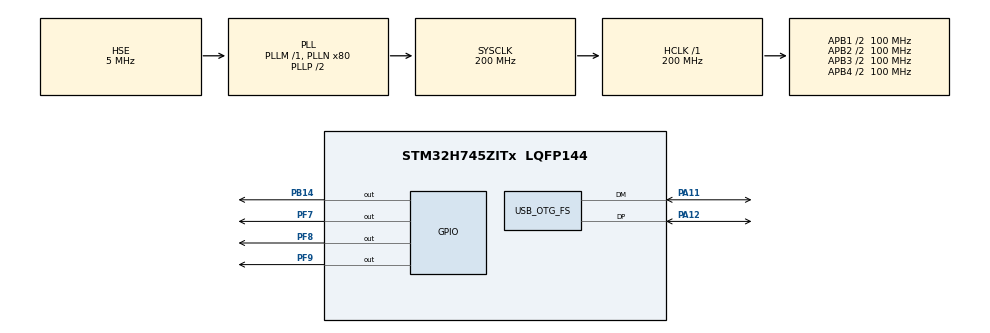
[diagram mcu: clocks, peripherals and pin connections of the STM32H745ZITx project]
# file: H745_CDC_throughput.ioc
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CORTEX_M7.default_mode_Activation=1
CortexM4.IPs=FATFS_M4\:I,FREERTOS_M4\:I,IWDG2\:I,RCC,WWDG2\:I,DMA,BDMA,MDMA,NVIC2\:I,DEBUG,PDM2PCM_M4\:I,PWR,RESMGR_UTILITY,SYS_M4\:I,USB_DEVICE_M4\:I,USB_HOST_M4\:I,CORTEX_M4\:I,GPIO,OPENAMP_M4\:I,VREFBUF,NUCLEO-H745ZI-Q\:I
CortexM7.IPs=FATFS_M7\:I,FREERTOS_M7\:I,IWDG1\:I,RCC\:I,WWDG1\:I,DMA\:I,BDMA\:I,MDMA\:I,NVIC1\:I,SYS\:I,USB_OTG_FS\:I,CORTEX_M7\:I,DEBUG\:I,PDM2PCM_M7\:I,PWR\:I,RESMGR_UTILITY\:I,USB_DEVICE_M7\:I,USB_HOST_M7\:I,GPIO\:I,OPENAMP_M7\:I,VREFBUF\:I
CortexM7.Pins=PF7,PF8,PF9,PB14
Mcu.Family=STM32H7
Mcu.Name=STM32H745ZITx
Mcu.Package=LQFP144
NVIC1.OTG_FS_IRQn=true\:0\:0\:false\:false\:true\:true\:true\:true
NVIC1.PriorityGroup=NVIC_PRIORITYGROUP_4
NVIC1.RCC_IRQn=true\:0\:0\:false\:false\:true\:true\:false\:true
NVIC2.PriorityGroup=NVIC_PRIORITYGROUP_4
PA11.Mode=Device_Only
PA11.PinAttribute=CortexM7
PA11.Signal=USB_OTG_FS_DM
PA12.Mode=Device_Only
PA12.PinAttribute=CortexM7
PA12.Signal=USB_OTG_FS_DP
PB14.GPIO_Speed=GPIO_SPEED_FREQ_VERY_HIGH
PB14.PinAttribute=CortexM7
PB14.Signal=GPIO_Output
PC14-OSC32_IN\ (OSC32_IN).PinAttribute=Free
PC14-OSC32_IN\ (OSC32_IN).Signal=RCC_OSC32_IN
PC15-OSC32_OUT\ (OSC32_OUT).PinAttribute=Free
PC15-OSC32_OUT\ (OSC32_OUT).Signal=RCC_OSC32_OUT
PD8.GPIO_Label=STLINK_RX
PD8.PinAttribute=CortexM7
PD8.Signal=USART3_TX
PD9.GPIO_Label=STLINK_TX
PD9.PinAttribute=CortexM7
PD9.Signal=USART3_RX
PF7.GPIO_Speed=GPIO_SPEED_FREQ_VERY_HIGH
PF7.PinAttribute=CortexM7
PF7.Signal=GPIO_Output
PF8.GPIO_Speed=GPIO_SPEED_FREQ_VERY_HIGH
PF8.PinAttribute=CortexM7
PF8.Signal=GPIO_Output
PF9.GPIO_Speed=GPIO_SPEED_FREQ_VERY_HIGH
PF9.PinAttribute=CortexM7
PF9.PinState=GPIO_PIN_RESET
PF9.Signal=GPIO_Output
PH0-OSC_IN\ (PH0).Mode=HSE-External-Clock-Source
PH0-OSC_IN\ (PH0).PinAttribute=Free
PH0-OSC_IN\ (PH0).Signal=RCC_OSC_IN
PH1-OSC_OUT\ (PH1).PinAttribute=Free
PH1-OSC_OUT\ (PH1).Signal=RCC_OSC_OUT
ProjectManager.HeapSize=M4-0x200,M7-0x200
ProjectManager.StackSize=M4-0x400,M7-0x400
ProjectManager.TargetToolchain=STM32CubeIDE
RCC.ADCFreq_Value=10078125
RCC.APB1Freq_Value=100000000
RCC.APB2Freq_Value=100000000
RCC.APB3Freq_Value=100000000
RCC.APB4Freq_Value=100000000
RCC.CortexFreq_Value=200000000
RCC.D1PPRE=RCC_APB3_DIV2
RCC.D2PPRE1=RCC_APB1_DIV2
RCC.D2PPRE2=RCC_APB2_DIV2
RCC.D3PPRE=RCC_APB4_DIV2
RCC.DIVM1=1
RCC.DIVM3=1
RCC.DIVN1=80
RCC.DIVN3=48
RCC.DIVQ3=5
RCC.HCLKFreq_Value=200000000
RCC.HSE_VALUE=5000000
RCC.PLL2FRACN=0
RCC.PLL3FRACN=0
RCC.PLLFRACN=0
RCC.SYSCLKFreq_VALUE=200000000
RCC.SYSCLKSource=RCC_SYSCLKSOURCE_PLLCLK
RCC.SupplySource=PWR_DIRECT_SMPS_SUPPLY
RCC.USBCLockSelection=RCC_USBCLKSOURCE_PLL3
RCC.USBFreq_Value=48000000
USB_DEVICE_M7.CLASS_NAME_FS=CDC
USB_DEVICE_M7.VirtualMode-CDC_FS=Cdc
USB_DEVICE_M7.VirtualModeFS=Cdc_FS
USB_OTG_FS.VirtualMode=Device_Only
VP_SYS_M4_VS_Systick.Mode=SysTick
VP_USB_DEVICE_M7_VS_USB_DEVICE_CDC_FS.Mode=CDC_FS
board=NUCLEO-H745ZI-Q

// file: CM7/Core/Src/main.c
/* USER CODE BEGIN Header */
/**
  ******************************************************************************
  * @file           : main.c
  * @brief          : Main program body
  ******************************************************************************
  * @attention
  *
  * Copyright (c) 2025 STMicroelectronics.
  * All rights reserved.
  *
  * This software is licensed under terms that can be found in the LICENSE file
  * in the root directory of this software component.
  * If no LICENSE file comes with this software, it is provided AS-IS.
  *
  ******************************************************************************
  */
/* USER CODE END Header */
#include "main.h"
#include "usb_device.h"

/* USER CODE BEGIN Includes */
#include "usbd_cdc.h"
/* USER CODE END Includes */

/* USER CODE BEGIN PD */
#define BUFFER_SIZE 2000
#define ONE_MB_IN_BYTES 1048576
#define ONE_MB (1024 * 1024)

/* DUAL_CORE_BOOT_SYNC_SEQUENCE: Define for dual core boot synchronization    */
/*                             demonstration code based on hardware semaphore */
/* This define is present in both CM7/CM4 projects                            */
/* To comment when developping/debugging on a single core                     */
//#define DUAL_CORE_BOOT_SYNC_SEQUENCE

#if defined(DUAL_CORE_BOOT_SYNC_SEQUENCE)
#ifndef HSEM_ID_0
#define HSEM_ID_0 (0U) /* HW semaphore 0*/
#endif
#endif /* DUAL_CORE_BOOT_SYNC_SEQUENCE */

/* USER CODE END PD */

/* USER CODE BEGIN PM */
#define BUFFER_SIZE 16384  // 16 kB buffer size

uint64_t current_value = 0;  // Start value for uint64_t sequence
/* USER CODE END PM */

/* USER CODE BEGIN PV */
static uint32_t totalBytesTransmitted = 0;  // Counter for total bytes transmitted

extern PCD_HandleTypeDef hpcd_USB_OTG_FS;
extern USBD_HandleTypeDef hUsbDeviceFS;
uint64_t msg[BUFFER_SIZE];
extern HAL_StatusTypeDef hal_status;
static uint32_t number_suffix = 1;
static uint32_t total_bytes_transmitted = 0;
USBD_StatusTypeDef usb_status;
const char *message = "hellowooooooooorldxxxxxxxxxxhellowooooooooorldxxxxxxxxxxhellowooooooooorldxxxxxxxxxxhellowooooooooorldxxxxxxxxxx"
		"hellowooooooooorldxxxxxxxxxxhellowooooooooorldxxxxxxxxxxhellowooooooooorldxxxxxxxxxxhellowooooooooorldxxxxxxxxxx"
		"hellowooooooooorldxxxxxxxxxxhellowooooooooorldxxxxxxxxxxhellowooooooooorldxxxxxxxxxxhellowooooooooorldxxxxxxxxxx"
		"hellowooooooooorldxxxxxxxxxxhellowooooooooorldxxxxxxxxxxhellowooooooooorldxxxxxxxxxxhellowooooooooorldxxxxxxxxxx"
		"hellowooooooooorldxxxxxxxxxxhellowooooooooorldxxxxxxxxxxhellowooooooooorldxxxxxxxxxxhellowooooooooorldxxxxxxxxxx"
		"hellowooooooooorldxxxxxxxxxxhellowooooooooorldxxxxxxxxxxhellowooooooooorldxxxxxxxxxxhellowooooooooorldxxxxxxxxxx"
		"hellowooooooooorldxxxxxxxxxxhellowooooooooorldxxxxxxxxxxhellowooooooooorldxxxxxxxxxxhellowooooooooorldxxxxxxxxxx"
		"hellowooooooooorldxxxxxxxxxxhellowooooooooorldxxxxxxxxxxhellowooooooooorldxxxxxxxxxxhellowooooooooorldxxxxxxxxxx"
		"hellowooooooooorldxxxxxxxxxxhellowooooooooorldxxxxxxxxxxhellowooooooooorldxxxxxxxxxxhellowooooooooorldxxxxxxxxxx"
		"hellowooooooooorldxxxxxxxxxxhellowooooooooorldxxxxxxxxxxhellowooooooooorldxxxxxxxxxxhellowooooooooorldxxxxxxxxxx"
		"hellowooooooooorldxxxxxxxxxxhellowooooooooorldxxxxxxxxxxhellowooooooooorldxxxxxxxxxxhellowooooooooorldxxxxxxxxxx"
		"hellowooooooooorldxxxxxxxxxxhellowooooooooorldxxxxxxxxxxhellowooooooooorldxxxxxxxxxxhellowooooooooorldxxxxxxxxxx"
		"hellowooooooooorldxxxxxxxxxxhellowooooooooorldxxxxxxxxxxhellowooooooooorldxxxxxxxxxxhellowooooooooorldxxxxxxxxxx"
		"hellowooooooooorldxxxxxxxxxxhellowooooooooorldxxxxxxxxxxhellowooooooooorldxxxxxxxxxxhellowooooooooorldxxxxxxxxxx"
		"hellowooooooooorldxxxxxxxxxxhellowooooooooorldxxxxxxxxxxhellowooooooooorldxxxxxxxxxxhellowooooooooorldxxxxxxxxxx"
		"hellowooooooooorldxxxxxxxxxxhellowooooooooorldxxxxxxxxxxhellowooooooooorldxxxxxxxxxxhellowooooooooorldxxxxxxxxxx"
		"hellowooooooooorldxxxxxxxxxxhellowooooooooorldxxxxxxxxxxhellowooooooooorldxxxxxxxxxxhellowooooooooorldxxxxxxxxxx%lu\r\n";

/* USER CODE END PV */

void SystemClock_Config(void);
static void MPU_Config(void);
static void MX_GPIO_Init(void);
/* USER CODE BEGIN PFP */
uint8_t CDC_Transmit_FS(uint8_t* Buf, uint16_t Len);

/* USER CODE END PFP */

/* USER CODE BEGIN 0 */
uint64_t gNextValue = 0;
uint8_t gUsbBuffer[2][1024 * 16] = {};

/* USER CODE END 0 */

int main(void)
{

/* USER CODE BEGIN Boot_Mode_Sequence_0 */
#if defined(DUAL_CORE_BOOT_SYNC_SEQUENCE)
  int32_t timeout;
#endif /* DUAL_CORE_BOOT_SYNC_SEQUENCE */
/* USER CODE END Boot_Mode_Sequence_0 */

  /* MPU Configuration--------------------------------------------------------*/
  MPU_Config();

/* USER CODE BEGIN Boot_Mode_Sequence_1 */
#if defined(DUAL_CORE_BOOT_SYNC_SEQUENCE)
  /* Wait until CPU2 boots and enters in stop mode or timeout*/
  timeout = 0xFFFF;
  while((__HAL_RCC_GET_FLAG(RCC_FLAG_D2CKRDY) != RESET) && (timeout-- > 0));
  if ( timeout < 0 )
  {
  Error_Handler();
  }
#endif /* DUAL_CORE_BOOT_SYNC_SEQUENCE */
/* USER CODE END Boot_Mode_Sequence_1 */
  /* MCU Configuration--------------------------------------------------------*/

  /* Reset of all peripherals, Initializes the Flash interface and the Systick. */
  HAL_Init();

  /* Configure the system clock */
  SystemClock_Config();
/* USER CODE BEGIN Boot_Mode_Sequence_2 */
#if defined(DUAL_CORE_BOOT_SYNC_SEQUENCE)
/* When system initialization is finished, Cortex-M7 will release Cortex-M4 by means of
HSEM notification */
/*HW semaphore Clock enable*/
__HAL_RCC_HSEM_CLK_ENABLE();
/*Take HSEM */
HAL_HSEM_FastTake(HSEM_ID_0);
/*Release HSEM in order to notify the CPU2(CM4)*/
HAL_HSEM_Release(HSEM_ID_0,0);
/* wait until CPU2 wakes up from stop mode */
timeout = 0xFFFF;
while((__HAL_RCC_GET_FLAG(RCC_FLAG_D2CKRDY) == RESET) && (timeout-- > 0));
if ( timeout < 0 )
{
Error_Handler();
}
#endif /* DUAL_CORE_BOOT_SYNC_SEQUENCE */
/* USER CODE END Boot_Mode_Sequence_2 */

  /* Initialize all configured peripherals */
  MX_GPIO_Init();
  MX_USB_DEVICE_Init();

  /* Infinite loop */
  while (1)
  {

    /* USER CODE BEGIN 3 */

	  HAL_Delay(2000);//delay just to make sure pc reads usb comport berfore stat tranmitting
	  HAL_GPIO_WritePin(GPIOF, GPIO_PIN_9, GPIO_PIN_RESET);
	  HAL_GPIO_WritePin(GPIOF, GPIO_PIN_9, GPIO_PIN_SET);//set pin to start tracking transmission time

	  for (int i = 0; i < 1000; i++) {//for loop that sends 1936 bytes bhuffer with incremented suffix in the end to identify each transmit 1000 times
	      // Update message with current suffix
	      int len = snprintf((char *)msg, BUFFER_SIZE, message, (unsigned long)number_suffix);

	      // Transmit the message
	      CDC_Transmit_FS(msg, len);

	      // Increment suffix for next message
	      number_suffix++;
//	      for (volatile uint32_t i = 0; i < 40000; i++) {
//	     	          __NOP();
//	     	      }
	      //HAL_Delay(10);
	  }

	  HAL_GPIO_WritePin(GPIOF, GPIO_PIN_9, GPIO_PIN_RESET);//reset the pin to see how much time the total transmission took
	  //HAL_Delay(10000);
  }

  /* USER CODE END 3 */
}

void SystemClock_Config(void)
{
  RCC_OscInitTypeDef RCC_OscInitStruct = {0};
  RCC_ClkInitTypeDef RCC_ClkInitStruct = {0};

  /** Supply configuration update enable
  */
  HAL_PWREx_ConfigSupply(PWR_DIRECT_SMPS_SUPPLY);

  /** Configure the main internal regulator output voltage
  */
  __HAL_PWR_VOLTAGESCALING_CONFIG(PWR_REGULATOR_VOLTAGE_SCALE3);

  while(!__HAL_PWR_GET_FLAG(PWR_FLAG_VOSRDY)) {}

  /** Initializes the RCC Oscillators according to the specified parameters
  * in the RCC_OscInitTypeDef structure.
  */
  RCC_OscInitStruct.OscillatorType = RCC_OSCILLATORTYPE_HSE;
  RCC_OscInitStruct.HSEState = RCC_HSE_BYPASS;
  RCC_OscInitStruct.PLL.PLLState = RCC_PLL_ON;
  RCC_OscInitStruct.PLL.PLLSource = RCC_PLLSOURCE_HSE;
  RCC_OscInitStruct.PLL.PLLM = 1;
  RCC_OscInitStruct.PLL.PLLN = 80;
  RCC_OscInitStruct.PLL.PLLP = 2;
  RCC_OscInitStruct.PLL.PLLQ = 2;
  RCC_OscInitStruct.PLL.PLLR = 2;
  RCC_OscInitStruct.PLL.PLLRGE = RCC_PLL1VCIRANGE_2;
  RCC_OscInitStruct.PLL.PLLVCOSEL = RCC_PLL1VCOWIDE;
  RCC_OscInitStruct.PLL.PLLFRACN = 0;
  if (HAL_RCC_OscConfig(&RCC_OscInitStruct) != HAL_OK)
  {
    Error_Handler();
  }

  /** Initializes the CPU, AHB and APB buses clocks
  */
  RCC_ClkInitStruct.ClockType = RCC_CLOCKTYPE_HCLK|RCC_CLOCKTYPE_SYSCLK
                              |RCC_CLOCKTYPE_PCLK1|RCC_CLOCKTYPE_PCLK2
                              |RCC_CLOCKTYPE_D3PCLK1|RCC_CLOCKTYPE_D1PCLK1;
  RCC_ClkInitStruct.SYSCLKSource = RCC_SYSCLKSOURCE_PLLCLK;
  RCC_ClkInitStruct.SYSCLKDivider = RCC_SYSCLK_DIV1;
  RCC_ClkInitStruct.AHBCLKDivider = RCC_HCLK_DIV1;
  RCC_ClkInitStruct.APB3CLKDivider = RCC_APB3_DIV2;
  RCC_ClkInitStruct.APB1CLKDivider = RCC_APB1_DIV2;
  RCC_ClkInitStruct.APB2CLKDivider = RCC_APB2_DIV2;
  RCC_ClkInitStruct.APB4CLKDivider = RCC_APB4_DIV2;

  if (HAL_RCC_ClockConfig(&RCC_ClkInitStruct, FLASH_LATENCY_4) != HAL_OK)
  {
    Error_Handler();
  }
}

static void MX_GPIO_Init(void)
{
  GPIO_InitTypeDef GPIO_InitStruct = {0};

  /* GPIO Ports Clock Enable */
  __HAL_RCC_GPIOF_CLK_ENABLE();
  __HAL_RCC_GPIOB_CLK_ENABLE();
  __HAL_RCC_GPIOD_CLK_ENABLE();
  __HAL_RCC_GPIOA_CLK_ENABLE();

  /*Configure GPIO pin Output Level */
  HAL_GPIO_WritePin(GPIOF, GPIO_PIN_7|GPIO_PIN_8|GPIO_PIN_9, GPIO_PIN_RESET);

  /*Configure GPIO pin Output Level */
  HAL_GPIO_WritePin(GPIOB, GPIO_PIN_14, GPIO_PIN_RESET);

  /*Configure GPIO pins : PF7 PF8 PF9 */
  GPIO_InitStruct.Pin = GPIO_PIN_7|GPIO_PIN_8|GPIO_PIN_9;
  GPIO_InitStruct.Mode = GPIO_MODE_OUTPUT_PP;
  GPIO_InitStruct.Pull = GPIO_NOPULL;
  GPIO_InitStruct.Speed = GPIO_SPEED_FREQ_VERY_HIGH;
  HAL_GPIO_Init(GPIOF, &GPIO_InitStruct);

  /*Configure GPIO pin : PB14 */
  GPIO_InitStruct.Pin = GPIO_PIN_14;
  GPIO_InitStruct.Mode = GPIO_MODE_OUTPUT_PP;
  GPIO_InitStruct.Pull = GPIO_NOPULL;
  GPIO_InitStruct.Speed = GPIO_SPEED_FREQ_VERY_HIGH;
  HAL_GPIO_Init(GPIOB, &GPIO_InitStruct);

  /*Configure GPIO pins : PD8 PD9 */
  GPIO_InitStruct.Pin = GPIO_PIN_8|GPIO_PIN_9;
  GPIO_InitStruct.Mode = GPIO_MODE_AF_PP;
  GPIO_InitStruct.Pull = GPIO_NOPULL;
  GPIO_InitStruct.Speed = GPIO_SPEED_FREQ_LOW;
  GPIO_InitStruct.Alternate = GPIO_AF7_USART3;
  HAL_GPIO_Init(GPIOD, &GPIO_InitStruct);

}

 /* MPU Configuration */

void MPU_Config(void)
{
  MPU_Region_InitTypeDef MPU_InitStruct = {0};

  /* Disables the MPU */
  HAL_MPU_Disable();

  /** Initializes and configures the Region and the memory to be protected
  */
  MPU_InitStruct.Enable = MPU_REGION_ENABLE;
  MPU_InitStruct.Number = MPU_REGION_NUMBER0;
  MPU_InitStruct.BaseAddress = 0x0;
  MPU_InitStruct.Size = MPU_REGION_SIZE_4GB;
  MPU_InitStruct.SubRegionDisable = 0x87;
  MPU_InitStruct.TypeExtField = MPU_TEX_LEVEL0;
  MPU_InitStruct.AccessPermission = MPU_REGION_NO_ACCESS;
  MPU_InitStruct.DisableExec = MPU_INSTRUCTION_ACCESS_DISABLE;
  MPU_InitStruct.IsShareable = MPU_ACCESS_SHAREABLE;
  MPU_InitStruct.IsCacheable = MPU_ACCESS_NOT_CACHEABLE;
  MPU_InitStruct.IsBufferable = MPU_ACCESS_NOT_BUFFERABLE;

  HAL_MPU_ConfigRegion(&MPU_InitStruct);
  /* Enables the MPU */
  HAL_MPU_Enable(MPU_PRIVILEGED_DEFAULT);

}

void Error_Handler(void)
{
  __disable_irq();
  while (1)
  {
  }
}
